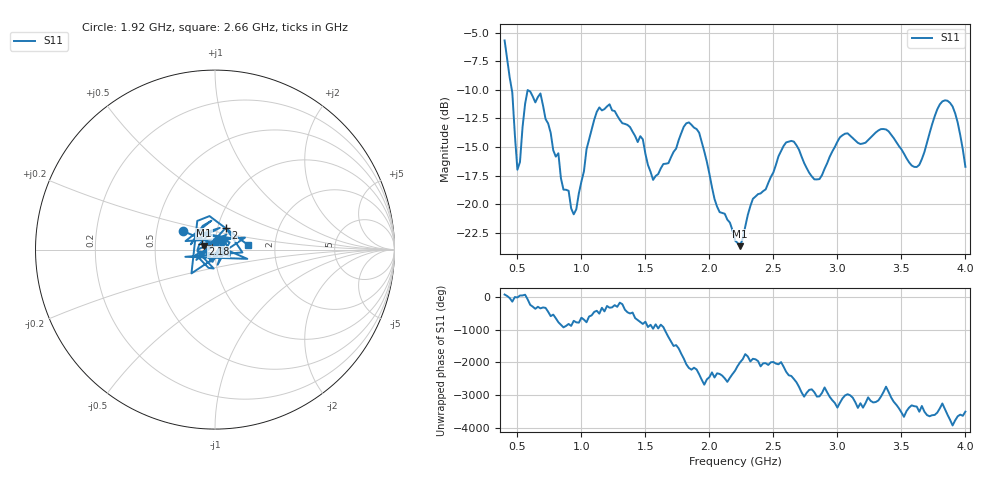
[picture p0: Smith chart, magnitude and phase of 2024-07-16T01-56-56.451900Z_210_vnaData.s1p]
!Created with skrf (http://scikit-rf.org).
# Hz S RI R 50.0
!freq ReS11 ImS11
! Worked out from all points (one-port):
!   181 points, 400 MHz to 4 GHz, reference 50 ohm
!   lowest |S11| = -23.7 dB at 2.24 GHz (marker M1), VSWR 1.14, Z = 44.2 + j2.02 ohm
!   |S11| at or under -10 dB: 456.6 MHz to end of sweep
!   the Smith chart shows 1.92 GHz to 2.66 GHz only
!   S11 on the Smith chart (normalised r, x): 1.92 GHz: 0.69, +0.15; 2 GHz: 1.09, +0.27; 2.18 GHz: 0.87, +0.05; 2.66 GHz: 1.46, +0.07
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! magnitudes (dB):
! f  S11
! 400 MHz  -5.7
! 460 MHz  -10.2
! 500 MHz  -17.0
! 580 MHz  -10.0
! 680 MHz  -10.3
! 820 MHz  -15.5
! 860 MHz  -18.7
! 960 MHz  -20.4
! 1.14 GHz  -11.5
! 1.3 GHz  -12.6
! 1.48 GHz  -14.3
! 1.56 GHz  -17.9
! 1.76 GHz  -14.4
! 1.92 GHz  -13.7
! 2 GHz  -17.3
! 2.18 GHz  -22.3
! 2.2 GHz  -23.2
! 2.24 GHz  -23.7
! 2.34 GHz  -19.5
! 2.66 GHz  -14.5
! 2.84 GHz  -17.8
! 3.1 GHz  -14.0
! 3.38 GHz  -13.5
! 3.56 GHz  -16.3
! 3.64 GHz  -16.6
! 3.84 GHz  -10.9
! 3.92 GHz  -12.0
! 4 GHz  -16.7
